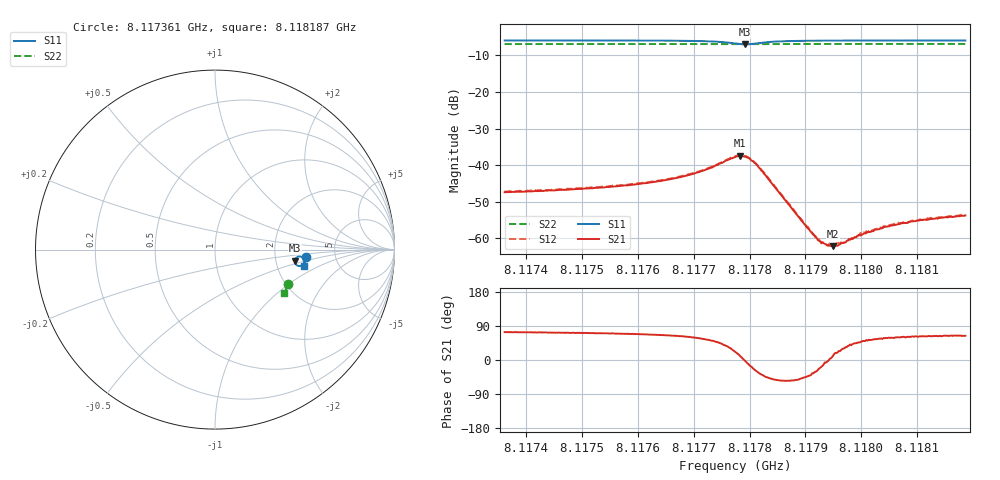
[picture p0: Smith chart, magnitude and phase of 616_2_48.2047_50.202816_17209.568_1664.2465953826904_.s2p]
#  HZ  S  RI  R  50.00
! Rohde & Schwarz Vector Network Analyzer
! Rohde-Schwarz,ZNB20-2Port,1311601062101988,3.16
! Created: UTC 3/20/2024, 12:03:42 PM
! freq[Hz]  re:S11  im:S11  re:S21  im:S21  re:S12  im:S12  re:S22  im:S22
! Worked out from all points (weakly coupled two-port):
!   401 points, 8.117361 GHz to 8.118187 GHz, reference 50 ohm
!   highest |S21| = -37.41 dB at 8.117782 GHz (marker M1); lowest = -62.2 dB at 8.117949 GHz (marker M2)
!   lowest |S11| = -7.0 dB at 8.117793 GHz (marker M3), VSWR 2.63, Z = 128 - j19.8 ohm
!   |S11| at or under -10 dB: nowhere
!   |S22| runs from -6.9 to -6.8 dB; largest |S21 - S12| = 0.00047
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8.1173614e9  0.5052 -0.043  0.0012 0.00407  0.00123 0.00417  0.4094 -0.1923
8.1174996e9  0.5031 -0.0554  0.00152 0.00445  0.00159 0.00457  0.4055 -0.2011
8.1175821e9  0.5013 -0.064  0.00187 0.00493  0.00193 0.00503  0.403 -0.2065
8.1176378e9  0.4989 -0.0712  0.00243 0.00552  0.00251 0.00561  0.4012 -0.2102
8.1177101e9  0.4905 -0.0837  0.00433 0.00677  0.00443 0.00694  0.3986 -0.2151
8.117774e9  0.4534 -0.0852  0.0119 0.00482  0.0122 0.00491  0.3952 -0.2185
8.1177823e9  0.4469 -0.0766  0.0132 0.00275  0.0133 0.0027  0.3946 -0.2184
8.1177926e9  0.4443 -0.0618  0.0129 -0.000619  0.0133 -0.00066  0.3944 -0.2183
8.1178029e9  0.4504 -0.0477  0.0111 -0.00345  0.0113 -0.00367  0.3946 -0.2185
8.1178153e9  0.4637 -0.0391  0.00808 -0.00512  0.00821 -0.00533  0.3949 -0.219
8.1178524e9  0.4901 -0.0456  0.00254 -0.00341  0.00255 -0.00355  0.3948 -0.2217
8.1179123e9  0.4988 -0.0616  0.000976 -0.000684  0.000914 -0.000703  0.3933 -0.2261
8.1179246e9  0.4992 -0.0638  0.000844 -0.000354  0.000874 -0.0004  0.3927 -0.2268
8.1179308e9  0.4994 -0.0652  0.000845 -0.000234  0.000833 -0.000236  0.3925 -0.2273
8.117937e9  0.4995 -0.0662  0.000815 -9.72e-05  0.000823 -0.000107  0.3925 -0.2277
8.1179494e9  0.4997 -0.068  0.000762 0.000144  0.000765 0.000156  0.392 -0.2286
8.1179659e9  0.4998 -0.0705  0.000756 0.000418  0.000741 0.000425  0.3915 -0.2296
8.118003e9  0.4998 -0.0752  0.000726 0.000866  0.000756 0.000849  0.3901 -0.232
8.1180505e9  0.4995 -0.0806  0.000744 0.00124  0.0008 0.00127  0.3886 -0.2352
8.1180897e9  0.499 -0.0845  0.000809 0.00149  0.000806 0.00152  0.3873 -0.2374
8.1181227e9  0.4986 -0.0875  0.000817 0.00162  0.000884 0.00164  0.3862 -0.2395
8.1181867e9  0.4977 -0.0933  0.000899 0.00183  0.000893 0.00185  0.3839 -0.2434
